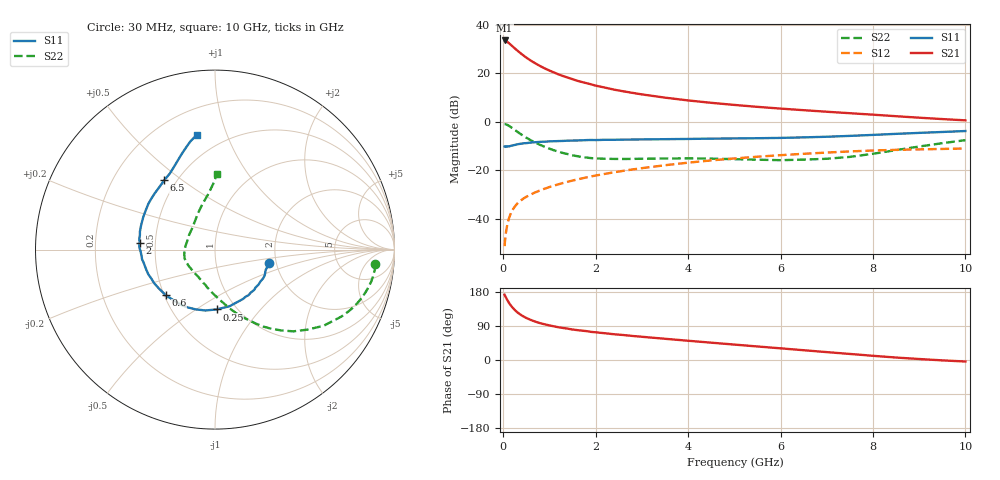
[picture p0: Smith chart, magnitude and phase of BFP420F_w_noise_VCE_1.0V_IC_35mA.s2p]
! Infineon Technologies  Discrete & RF Semiconductors
! BFP420F
! VCE =  1.0 V,  IC =  35 mA
! Common Emitter S-Parameters:  Sep 2011
# GHz  S  MA  R  50
!  f  S11  S21  S12  S22
! GHz  MAG  ANG  MAG  ANG  MAG  ANG  MAG  ANG
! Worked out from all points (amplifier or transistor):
!   54 points, 30 MHz to 10 GHz, reference 50 ohm
!   highest |S21| = 33.7 dB at 30 MHz (marker M1)
!   |S21| within 3 dB of that: start of sweep to 233.8 MHz
!   unconditionally stable (mu >= 1): 1.262 GHz to end of sweep
!   at 120 MHz: K = 0.40, MSG = 36.3 dB, |S12| = -40.1 dB
!   at 1.3 GHz: K = 1.01, MAG = 21.5 dB, |S12| = -25.2 dB
!   at 10 GHz: K = 1.21, MAG = 3.0 dB, |S12| = -11.0 dB
!   lowest NFmin = 1.93 dB at 450 MHz
!   S11 on the Smith chart (normalised r, x): 30 MHz: 1.83, -0.30; 250 MHz: 0.81, -0.61; 600 MHz: 0.51, -0.30; 2 GHz: 0.41, +0.04; 6.5 GHz: 0.43, +0.43; 10 GHz: 0.36, +0.79
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0.03  0.3092 -13.8  48.16 172.2  0.0027 88.4  0.8976 -5.2
0.07  0.3123 -31.0  46.35 162.5  0.0059 83.5  0.8807 -13.7
0.1  0.3091 -43.0  44.35 155.6  0.0084 79.5  0.8536 -19.5
0.12  0.3116 -50.4  42.71 151.5  0.0099 77.0  0.832 -23.0
0.15  0.3162 -60.5  40.22 146.2  0.0119 75.3  0.797 -27.9
0.2  0.3259 -75.7  36.51 138.6  0.0151 71.9  0.7394 -35.0
0.25  0.3334 -88.5  33 132.0  0.0177 69.3  0.6812 -40.9
0.3  0.3434 -98.9  30.14 126.4  0.0203 67.2  0.631 -46.2
0.4  0.3564 -115.5  25.09 117.6  0.0245 64.8  0.542 -54.5
0.5  0.3638 -127.7  21.3 110.9  0.0283 63.5  0.4709 -61.1
0.6  0.3741 -137.2  18.34 105.5  0.0317 62.9  0.4144 -66.8
0.8  0.3868 -150.7  14.24 97.1  0.0384 62.6  0.3346 -76.4
1  0.3961 -159.7  11.5 91.3  0.045 62.9  0.2795 -85.0
1.3  0.4044 -169.8  8.826 84.4  0.0548 62.7  0.2268 -97.2
1.7  0.4159 -179.2  6.676 77.6  0.0678 62.1  0.1876 -113.6
2  0.4205 175.1  5.61 73.1  0.0777 61.2  0.1759 -125.0
3.5  0.439 155.5  3.168 56.0  0.1271 54.5  0.1751 -156.7
5.5  0.4597 136.7  2.044 35.7  0.1906 41.3  0.1653 172.4
6.5  0.4785 126.3  1.744 25.8  0.219 34.1  0.166 150.3
7  0.4927 120.8  1.62 20.8  0.2322 30.3  0.1728 138.4
8.5  0.5656 109.0  1.31 6.5  0.2641 18.6  0.261 105.9
10  0.6469 99.1  1.076 -4.0  0.2817 9.5  0.4186 88.6
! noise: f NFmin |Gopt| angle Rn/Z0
0.45  1.93  0.32  -175  0.1
0.9  1.94  0.34  -172  0.13
1.9  2.07  0.39  -162  0.12
2.4  2.14  0.38  -155  0.13
3.5  2.39  0.37  -143  0.19
